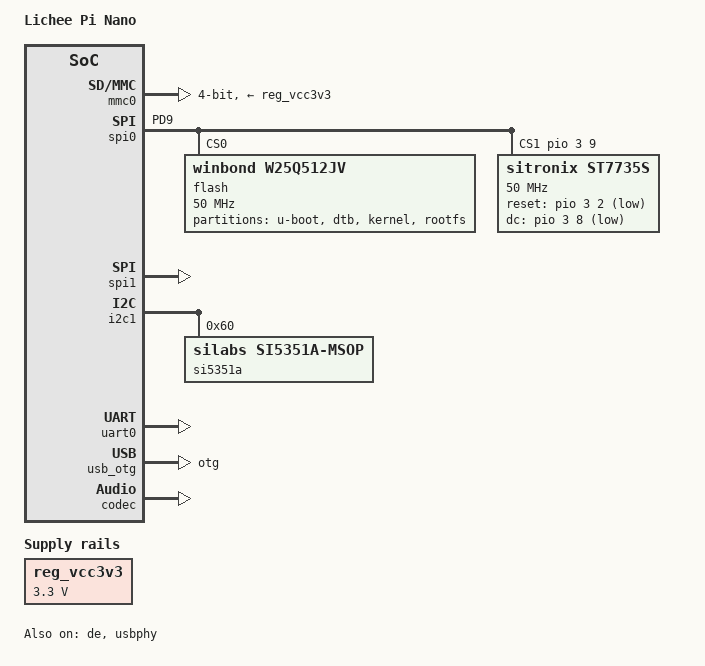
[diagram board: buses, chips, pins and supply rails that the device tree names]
// SPDX-License-Identifier: (GPL-2.0+ OR X11)
/*
 * Copyright 2018 Icenowy Zheng <icenowy@aosc.io>
 */

/dts-v1/;
#include "suniv-f1c100s.dtsi"

#include <dt-bindings/gpio/gpio.h>
#include <dt-bindings/dma/sun4i-a10.h> 

/ {
	model = "Lichee Pi Nano";
	compatible = "licheepi,licheepi-nano", "allwinner,suniv-f1c100s",
		     "allwinner,suniv";

	aliases {
		serial0 = &uart0;
		spi0 = &spi0;
	};

	chosen {
		stdout-path = "serial0:115200n8";
	};
/*
	panel: panel {
		compatible = "qiaodian,qd43003c0-40", "simple-panel";
		#address-cells = <1>;
		#size-cells = <0>;
		enable-gpios = <&pio 4 6 GPIO_ACTIVE_HIGH>;

		port@0 {
			reg = <0>;
			#address-cells = <1>;
			#size-cells = <0>;

			panel_input: endpoint@0 {
				reg = <0>;
				remote-endpoint = <&tcon0_out_lcd>;
			};
		};
	};
*/
	panel: panel {
		compatible = "lg,lb070wv8", "simple-panel";
		#address-cells = <1>;
		#size-cells = <0>;
		enable-gpios = <&pio 4 6 GPIO_ACTIVE_HIGH>;
		status = "disabled";
		port@0 {
			reg = <0>;
			#address-cells = <1>;
			#size-cells = <0>;

			panel_input: endpoint@0 {
				reg = <0>;
				remote-endpoint = <&tcon0_out_lcd>;
			};
		};
	};
	reg_vcc3v3: vcc3v3 {
		compatible = "regulator-fixed";
		regulator-name = "vcc3v3";
		regulator-min-microvolt = <3300000>;
		regulator-max-microvolt = <3300000>;
	};

};

&de {
	status = "okay";
};

&mmc0 {
	vmmc-supply = <&reg_vcc3v3>;
	bus-width = <4>;
	broken-cd;
	status = "okay";
};

&otg_sram {
	status = "okay";
};

&pio {
    spi0_cs_pins: spi0_cs_pins {
		pins = "PD9";
		function = "gpio_out";
    };
	usb0_id_pins: usb0_id_pins {
		pins = "PE2";
		function = "gpio_in";
	};
};

&spi0 {
    pinctrl-names = "default";
    pinctrl-0 = <&spi0_pins_a &spi0_cs_pins>;
    status = "okay";
    spi-max-frequency = <50000000>;
	cs-gpios = <0>, <&pio 3 9 GPIO_ACTIVE_HIGH>;

    flash: w25q128bv@0 {
        #address-cells = <1>;
        #size-cells = <1>;
        compatible = "winbond,w25q512jv", "jedec,spi-nor";
        reg = <0>;
        spi-max-frequency = <50000000>;
        partitions {
            compatible = "fixed-partitions";
            #address-cells = <1>;
            #size-cells = <1>;

            partition@0 {
                label = "u-boot";
                reg = <0x000000 0x100000>;
                // read-only;
            };

            partition@100000 {
                label = "dtb";
                reg = <0x100000 0x10000>;
                // read-only;
            };

            partition@110000 {
                label = "kernel";
                reg = <0x110000 0x400000>;
                // read-only;
            };

            partition@510000 {
                label = "rootfs";
                reg = <0x510000 0x3AF0000>;
            };
        };
    };

	st7735s@0 {
		status = "okay";
		compatible = "sitronix,st7735s";
			reg = <1>;
			spi-max-frequency = <50000000>;
			rotate = <90>;
			spi-cpol;
			spi-cpha;
			rgb;
			fps = <60>;
			buswidth = <8>;
			reset-gpios = <&pio 3 2 GPIO_ACTIVE_LOW>;
			dc-gpios = <&pio 3 8 GPIO_ACTIVE_LOW>;
			debug = <0>;
	};
};

&spi1 {
    pinctrl-names = "default";
    pinctrl-0 = <&spi1_pins_a>;
    status = "okay";
    spi-max-frequency = <50000000>;
	cs-gpios = <0>;
};



&i2c1 {
    pinctrl-0 = <&i2c1_pins>;
    pinctrl-names = "default";
    status = "okay";

	si5351a: clock-generator@60 {
		
		compatible = "silabs,si5351a-msop";
		reg = <0x60>;
		#address-cells = <1>;
		#size-cells = <0>;
		#clock-cells = <1>;

		/* connect xtal input to 25MHz reference */
		clocks = <&ref25>;
		clock-names = "xtal";

		/* connect xtal input as source of pll0 and pll1 */
		silabs,pll-source = <0 0>, <1 0>;		//<编号 源> 设置pll的源

		/*
		* overwrite clkout0 configuration with:
		* - 8mA output drive strength
		* - pll0 as clock source of multisynth0
		* - multisynth0 as clock source of output divider
		* - multisynth0 can change pll0
		* - set initial clock frequency of 74.25MHz
		*/
		clkout0 {
			reg = <0>;
			silabs,drive-strength = <8>;
			silabs,multisynth-source = <0>;	//设置multisynth源
			silabs,clock-source = <0>;
			silabs,pll-master;
			clock-frequency = <74250000>;
		};

		/*
		* overwrite clkout1 configuration with:
		* - 4mA output drive strength
		* - pll1 as clock source of multisynth1
		* - multisynth1 as clock source of output divider
		* - multisynth1 can change pll1
		*/
		clkout1 {
			reg = <1>;
			silabs,drive-strength = <4>;
			silabs,multisynth-source = <1>;
			silabs,clock-source = <0>;
			pll-master;
		};

		/*
		* overwrite clkout2 configuration with:
		* - xtal as clock source of output divider
		*/
		clkout2 {
			reg = <2>;
			silabs,clock-source = <2>;
		};
	};
}; 

/*
&tcon0 {
	pinctrl-names = "default";
	pinctrl-0 = <&lcd_rgb666_pins>;
	status = "disabled";
};
*/
&tcon0_out {
	tcon0_out_lcd: endpoint@0 {
		reg = <0>;
		remote-endpoint = <&panel_input>;
	};
};

&uart0 {
	pinctrl-names = "default";
	pinctrl-0 = <&uart0_pins_a>;
	status = "okay";
};

&usb_otg {
	dr_mode = "otg";
	status = "okay";
};

&usbphy {
	usb0_id_det-gpio = <&pio 4 2 GPIO_ACTIVE_HIGH>; /* PE2 */
	status = "okay";
};

&codec {
	allwinner,audio-routing =
		"Headphone", "HP",
		"Headphone", "HPCOM",
		"MIC", "Mic";
	status = "okay";
};


